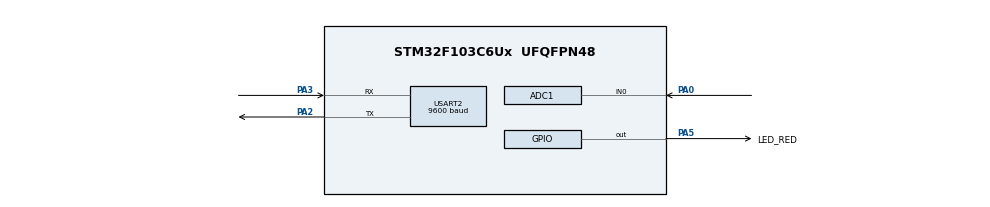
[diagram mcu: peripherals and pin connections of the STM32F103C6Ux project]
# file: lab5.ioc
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ADC1.Channel-1\#ChannelRegularConversion=ADC_CHANNEL_0
ADC1.ContinuousConvMode=ENABLE
ADC1.NbrOfConversionFlag=1
ADC1.Rank-1\#ChannelRegularConversion=1
ADC1.SamplingTime-1\#ChannelRegularConversion=ADC_SAMPLETIME_1CYCLE_5
ADC1.master=1
Mcu.Family=STM32F1
Mcu.Name=STM32F103C6Ux
Mcu.Package=UFQFPN48
NVIC.ADC1_2_IRQn=true\:0\:0\:false\:false\:true\:true\:true
NVIC.PriorityGroup=NVIC_PRIORITYGROUP_4
NVIC.USART2_IRQn=true\:0\:0\:false\:false\:true\:true\:true
PA0-WKUP.Signal=ADCx_IN0
PA2.Mode=Asynchronous
PA2.Signal=USART2_TX
PA3.Mode=Asynchronous
PA3.Signal=USART2_RX
PA5.GPIO_Label=LED_RED
PA5.Signal=GPIO_Output
ProjectManager.HeapSize=0x200
ProjectManager.StackSize=0x400
ProjectManager.TargetToolchain=STM32CubeIDE
RCC.APB1Freq_Value=8000000
RCC.APB2Freq_Value=8000000
SH.ADCx_IN0.0=ADC1_IN0,IN0
USART2.BaudRate=9600
USART2.VirtualMode=VM_ASYNC
VP_SYS_VS_ND.Mode=No_Debug
board=custom

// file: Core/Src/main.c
/* USER CODE BEGIN Header */
/**
  ******************************************************************************
  * @file           : main.c
  * @brief          : Main program body
  ******************************************************************************
  * @attention
  *
  * <h2><center>&copy; Copyright (c) 2024 STMicroelectronics.
  * All rights reserved.</center></h2>
  *
  * This software component is licensed by ST under BSD 3-Clause license,
  * the "License"; You may not use this file except in compliance with the
  * License. You may obtain a copy of the License at:
  *                        opensource.org/licenses/BSD-3-Clause
  *
  ******************************************************************************
  */
/* USER CODE END Header */
#include "main.h"

ADC_HandleTypeDef hadc1;

UART_HandleTypeDef huart2;

void SystemClock_Config(void);
static void MX_GPIO_Init(void);
static void MX_ADC1_Init(void);
static void MX_USART2_UART_Init(void);

/* USER CODE BEGIN 0 */
#define MAX_LENGTH_BUFFER 30
uint8_t temp = 0;
uint8_t buffer[MAX_LENGTH_BUFFER];
uint8_t buffer_index = 0;
uint8_t flag_buff = 0;
uint32_t adcValue = 0;
char str[50];

void HAL_UART_RxCpltCallback(UART_HandleTypeDef *huart)
{
  if (huart->Instance == USART2)
  {
    if (temp == '\r' || temp == '\n'  || buffer_index >= MAX_LENGTH_BUFFER)
    {
      // buffer[buffer_index] = '\r';
      // buffer[buffer_index + 1] = '\n';
      buffer_index = 0;
    }
    else
    {
      buffer[buffer_index] = temp;
      buffer_index++;
    }
    HAL_UART_Receive_IT(&huart2, &temp, 1);
    HAL_UART_Transmit(&huart2, &temp, 1, 100);
    flag_buff = 1;
  }
}

uint8_t command_flag = 0;
int last_response = 0;
uint8_t resend_flag = 1;

void command_parser_fsm()
{
  if(strcmp((char *)buffer, "!RST#", 5) == 0)
  {
    command_flag = 1;

    HAL_ADC_Start(&hadc1);
    HAL_ADC_PollForConversion(&hadc1, HAL_MAX_DELAY);
    adcValue = HAL_ADC_GetValue(&hadc1);
    HAL_ADC_Stop(&hadc1);

    memset(buffer, 0, MAX_LENGTH_BUFFER);
    buffer_index = 0;
    flag_buff = 0;
  }

  else if (strcmp((char *)buffer, "!OK#", 4) == 0)
  {
    const char *response = "end\r\n";
    HAL_UART_Transmit(&huart2, (uint8_t *)response, strlen(response), 1000);
    command_flag = 0;

    memset(buffer, 0, MAX_LENGTH_BUFFER);
    buffer_index = 0;
    flag_buff = 0;
  }
}

void uart_communicate_fsm()
{
  if(command_flag == 1)
  {
    if(resend_flag == 1)
    {
      char str[50];
      HAL_UART_Transmit(&huart2, (char *)str, sprintf(str, "!ADC:%d#\r\n", adcValue), 1000);
      resend_flag = 0;
    }
  }
}

/* USER CODE END 0 */

int main(void)
{

  /* MCU Configuration--------------------------------------------------------*/

  /* Reset of all peripherals, Initializes the Flash interface and the Systick. */
  HAL_Init();

  /* Configure the system clock */
  SystemClock_Config();

  /* Initialize all configured peripherals */
  MX_GPIO_Init();
  MX_ADC1_Init();
  MX_USART2_UART_Init();
  /* USER CODE BEGIN 2 */

  HAL_UART_Receive_IT(&huart2, &temp, 1);
  /* USER CODE END 2 */

  /* Infinite loop */
  /* USER CODE BEGIN WHILE */
  while (1)
  {

    if (flag_buff == 1)
    {
      command_parser_fsm();
      flag_buff = 0;
    }

    uart_communicate_fsm();

    if(HAL_GetTick() - last_response >= 3000)
    {
      resend_flag = 1;
      last_response = HAL_GetTick();

      memset(buffer, 0, MAX_LENGTH_BUFFER);
      buffer_index = 0;
      flag_buff = 0;

      HAL_GPIO_TogglePin(LED_RED_GPIO_Port, LED_RED_Pin);
    }
    /* USER CODE END WHILE */

  }
}

void SystemClock_Config(void)
{
  RCC_OscInitTypeDef RCC_OscInitStruct = {0};
  RCC_ClkInitTypeDef RCC_ClkInitStruct = {0};
  RCC_PeriphCLKInitTypeDef PeriphClkInit = {0};

  /** Initializes the RCC Oscillators according to the specified parameters
  * in the RCC_OscInitTypeDef structure.
  */
  RCC_OscInitStruct.OscillatorType = RCC_OSCILLATORTYPE_HSI;
  RCC_OscInitStruct.HSIState = RCC_HSI_ON;
  RCC_OscInitStruct.HSICalibrationValue = RCC_HSICALIBRATION_DEFAULT;
  RCC_OscInitStruct.PLL.PLLState = RCC_PLL_NONE;
  if (HAL_RCC_OscConfig(&RCC_OscInitStruct) != HAL_OK)
  {
    Error_Handler();
  }
  /** Initializes the CPU, AHB and APB buses clocks
  */
  RCC_ClkInitStruct.ClockType = RCC_CLOCKTYPE_HCLK|RCC_CLOCKTYPE_SYSCLK
                              |RCC_CLOCKTYPE_PCLK1|RCC_CLOCKTYPE_PCLK2;
  RCC_ClkInitStruct.SYSCLKSource = RCC_SYSCLKSOURCE_HSI;
  RCC_ClkInitStruct.AHBCLKDivider = RCC_SYSCLK_DIV1;
  RCC_ClkInitStruct.APB1CLKDivider = RCC_HCLK_DIV1;
  RCC_ClkInitStruct.APB2CLKDivider = RCC_HCLK_DIV1;

  if (HAL_RCC_ClockConfig(&RCC_ClkInitStruct, FLASH_LATENCY_0) != HAL_OK)
  {
    Error_Handler();
  }
  PeriphClkInit.PeriphClockSelection = RCC_PERIPHCLK_ADC;
  PeriphClkInit.AdcClockSelection = RCC_ADCPCLK2_DIV2;
  if (HAL_RCCEx_PeriphCLKConfig(&PeriphClkInit) != HAL_OK)
  {
    Error_Handler();
  }
}

static void MX_ADC1_Init(void)
{

  ADC_ChannelConfTypeDef sConfig = {0};

  /** Common config
  */
  hadc1.Instance = ADC1;
  hadc1.Init.ScanConvMode = ADC_SCAN_DISABLE;
  hadc1.Init.ContinuousConvMode = ENABLE;
  hadc1.Init.DiscontinuousConvMode = DISABLE;
  hadc1.Init.ExternalTrigConv = ADC_SOFTWARE_START;
  hadc1.Init.DataAlign = ADC_DATAALIGN_RIGHT;
  hadc1.Init.NbrOfConversion = 1;
  if (HAL_ADC_Init(&hadc1) != HAL_OK)
  {
    Error_Handler();
  }
  /** Configure Regular Channel
  */
  sConfig.Channel = ADC_CHANNEL_0;
  sConfig.Rank = ADC_REGULAR_RANK_1;
  sConfig.SamplingTime = ADC_SAMPLETIME_1CYCLE_5;
  if (HAL_ADC_ConfigChannel(&hadc1, &sConfig) != HAL_OK)
  {
    Error_Handler();
  }

}

static void MX_USART2_UART_Init(void)
{

  huart2.Instance = USART2;
  huart2.Init.BaudRate = 9600;
  huart2.Init.WordLength = UART_WORDLENGTH_8B;
  huart2.Init.StopBits = UART_STOPBITS_1;
  huart2.Init.Parity = UART_PARITY_NONE;
  huart2.Init.Mode = UART_MODE_TX_RX;
  huart2.Init.HwFlowCtl = UART_HWCONTROL_NONE;
  huart2.Init.OverSampling = UART_OVERSAMPLING_16;
  if (HAL_UART_Init(&huart2) != HAL_OK)
  {
    Error_Handler();
  }

}

static void MX_GPIO_Init(void)
{
  GPIO_InitTypeDef GPIO_InitStruct = {0};

  /* GPIO Ports Clock Enable */
  __HAL_RCC_GPIOA_CLK_ENABLE();

  /*Configure GPIO pin Output Level */
  HAL_GPIO_WritePin(LED_RED_GPIO_Port, LED_RED_Pin, GPIO_PIN_RESET);

  /*Configure GPIO pin : LED_RED_Pin */
  GPIO_InitStruct.Pin = LED_RED_Pin;
  GPIO_InitStruct.Mode = GPIO_MODE_OUTPUT_PP;
  GPIO_InitStruct.Pull = GPIO_NOPULL;
  GPIO_InitStruct.Speed = GPIO_SPEED_FREQ_LOW;
  HAL_GPIO_Init(LED_RED_GPIO_Port, &GPIO_InitStruct);

}

void Error_Handler(void)
{
  __disable_irq();
  while (1)
  {
  }
}

/************************ (C) COPYRIGHT STMicroelectronics *****END OF FILE****/
